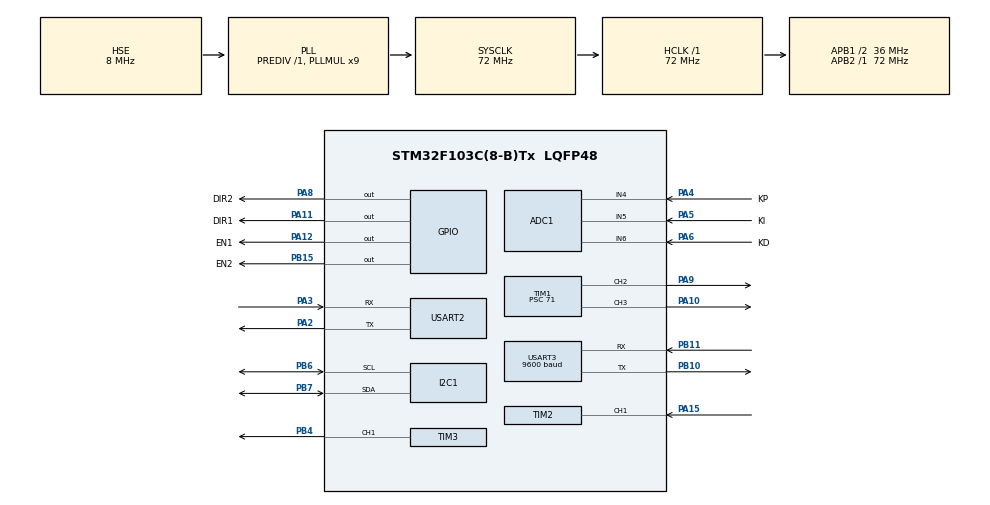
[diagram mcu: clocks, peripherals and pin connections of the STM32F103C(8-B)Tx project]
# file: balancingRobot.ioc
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ADC1.Channel-7\#ChannelInjectedConversion=ADC_CHANNEL_4
ADC1.Channel-8\#ChannelInjectedConversion=ADC_CHANNEL_5
ADC1.Channel-9\#ChannelInjectedConversion=ADC_CHANNEL_6
ADC1.EnableInjectedConversion=ENABLE
ADC1.EnableRegularConversion=DISABLE
ADC1.InjNumberOfConversion=3
ADC1.InjectedOffset-7\#ChannelInjectedConversion=0
ADC1.InjectedOffset-8\#ChannelInjectedConversion=0
ADC1.InjectedOffset-9\#ChannelInjectedConversion=0
ADC1.InjectedRank-7\#ChannelInjectedConversion=1
ADC1.InjectedRank-8\#ChannelInjectedConversion=2
ADC1.InjectedRank-9\#ChannelInjectedConversion=3
ADC1.SamplingTime-7\#ChannelInjectedConversion=ADC_SAMPLETIME_1CYCLE_5
ADC1.SamplingTime-8\#ChannelInjectedConversion=ADC_SAMPLETIME_1CYCLE_5
ADC1.SamplingTime-9\#ChannelInjectedConversion=ADC_SAMPLETIME_1CYCLE_5
ADC1.master=1
Dma.ADC1.2.Direction=DMA_PERIPH_TO_MEMORY
Dma.ADC1.2.Instance=DMA1_Channel1
Dma.ADC1.2.MemDataAlignment=DMA_MDATAALIGN_WORD
Dma.ADC1.2.MemInc=DMA_MINC_ENABLE
Dma.ADC1.2.Mode=DMA_NORMAL
Dma.ADC1.2.PeriphDataAlignment=DMA_PDATAALIGN_WORD
Dma.ADC1.2.PeriphInc=DMA_PINC_DISABLE
Dma.ADC1.2.Priority=DMA_PRIORITY_LOW
Dma.I2C1_RX.0.Direction=DMA_PERIPH_TO_MEMORY
Dma.I2C1_RX.0.Instance=DMA1_Channel7
Dma.I2C1_RX.0.MemDataAlignment=DMA_MDATAALIGN_BYTE
Dma.I2C1_RX.0.MemInc=DMA_MINC_ENABLE
Dma.I2C1_RX.0.Mode=DMA_NORMAL
Dma.I2C1_RX.0.PeriphDataAlignment=DMA_PDATAALIGN_BYTE
Dma.I2C1_RX.0.PeriphInc=DMA_PINC_DISABLE
Dma.I2C1_RX.0.Priority=DMA_PRIORITY_LOW
Dma.Request0=I2C1_RX
Dma.Request1=TIM2_CH1
Dma.Request2=ADC1
Dma.Request3=USART3_RX
Dma.TIM2_CH1.1.Direction=DMA_PERIPH_TO_MEMORY
Dma.TIM2_CH1.1.Instance=DMA1_Channel5
Dma.TIM2_CH1.1.MemDataAlignment=DMA_MDATAALIGN_WORD
Dma.TIM2_CH1.1.MemInc=DMA_MINC_DISABLE
Dma.TIM2_CH1.1.Mode=DMA_CIRCULAR
Dma.TIM2_CH1.1.PeriphDataAlignment=DMA_PDATAALIGN_WORD
Dma.TIM2_CH1.1.PeriphInc=DMA_PINC_DISABLE
Dma.TIM2_CH1.1.Priority=DMA_PRIORITY_LOW
Dma.USART3_RX.3.Direction=DMA_PERIPH_TO_MEMORY
Dma.USART3_RX.3.Instance=DMA1_Channel3
Dma.USART3_RX.3.MemDataAlignment=DMA_MDATAALIGN_BYTE
Dma.USART3_RX.3.MemInc=DMA_MINC_ENABLE
Dma.USART3_RX.3.Mode=DMA_NORMAL
Dma.USART3_RX.3.PeriphDataAlignment=DMA_PDATAALIGN_BYTE
Dma.USART3_RX.3.PeriphInc=DMA_PINC_DISABLE
Dma.USART3_RX.3.Priority=DMA_PRIORITY_LOW
I2C1.I2C_Mode=I2C_Fast
Mcu.Family=STM32F1
Mcu.Name=STM32F103C(8-B)Tx
Mcu.Package=LQFP48
NVIC.ADC1_2_IRQn=true\:0\:0\:false\:false\:true\:true\:true\:true
NVIC.DMA1_Channel1_IRQn=true\:0\:0\:false\:false\:true\:false\:true\:true
NVIC.DMA1_Channel3_IRQn=true\:0\:0\:false\:false\:true\:false\:true\:true
NVIC.DMA1_Channel5_IRQn=true\:0\:0\:false\:false\:true\:false\:true\:true
NVIC.DMA1_Channel7_IRQn=true\:0\:0\:false\:false\:true\:false\:true\:true
NVIC.I2C1_ER_IRQn=true\:0\:0\:false\:false\:true\:true\:true\:true
NVIC.I2C1_EV_IRQn=true\:0\:0\:false\:false\:true\:true\:true\:true
NVIC.PriorityGroup=NVIC_PRIORITYGROUP_4
NVIC.TIM1_BRK_IRQn=true\:0\:0\:false\:false\:true\:true\:true\:true
NVIC.TIM1_TRG_COM_IRQn=true\:0\:0\:false\:false\:true\:true\:true\:true
NVIC.TIM1_UP_IRQn=true\:0\:0\:false\:false\:true\:true\:true\:true
NVIC.USART3_IRQn=true\:0\:0\:false\:false\:true\:true\:true\:true
PA10.Signal=S_TIM1_CH3
PA11.GPIO_Label=DIR1
PA11.Signal=GPIO_Output
PA12.GPIO_Label=EN1
PA12.Signal=GPIO_Output
PA15.Signal=S_TIM2_CH1_ETR
PA2.Mode=Asynchronous
PA2.Signal=USART2_TX
PA3.Mode=Asynchronous
PA3.Signal=USART2_RX
PA4.GPIO_Label=KP
PA4.Signal=ADCx_IN4
PA5.GPIO_Label=KI
PA5.Signal=ADCx_IN5
PA6.GPIO_Label=KD
PA6.Signal=ADCx_IN6
PA8.GPIO_Label=DIR2
PA8.Signal=GPIO_Output
PA9.Signal=S_TIM1_CH2
PB10.Mode=Asynchronous
PB10.Signal=USART3_TX
PB11.Mode=Asynchronous
PB11.Signal=USART3_RX
PB15.GPIO_Label=EN2
PB15.Signal=GPIO_Output
PB4.Signal=S_TIM3_CH1
PB6.Mode=I2C
PB6.Signal=I2C1_SCL
PB7.Mode=I2C
PB7.Signal=I2C1_SDA
PD0-OSC_IN.Mode=HSE-External-Oscillator
PD0-OSC_IN.Signal=RCC_OSC_IN
PD1-OSC_OUT.Mode=HSE-External-Oscillator
PD1-OSC_OUT.Signal=RCC_OSC_OUT
ProjectManager.HeapSize=0x200
ProjectManager.StackSize=0x400
ProjectManager.TargetToolchain=STM32CubeIDE
RCC.ADCPresc=RCC_ADCPCLK2_DIV8
RCC.AHBFreq_Value=72000000
RCC.APB1CLKDivider=RCC_HCLK_DIV2
RCC.APB1Freq_Value=36000000
RCC.APB1TimFreq_Value=72000000
RCC.APB2Freq_Value=72000000
RCC.APB2TimFreq_Value=72000000
RCC.HCLKFreq_Value=72000000
RCC.PLLMUL=RCC_PLL_MUL9
RCC.PLLSourceVirtual=RCC_PLLSOURCE_HSE
RCC.SYSCLKFreq_VALUE=72000000
RCC.SYSCLKSource=RCC_SYSCLKSOURCE_PLLCLK
RCC.USBFreq_Value=72000000
SH.ADCx_IN4.0=ADC1_IN4,IN4
SH.ADCx_IN5.0=ADC1_IN5,IN5
SH.ADCx_IN6.0=ADC1_IN6,IN6
SH.S_TIM1_CH2.0=TIM1_CH2,PWM Generation2 CH2
SH.S_TIM1_CH3.0=TIM1_CH3,PWM Generation3 CH3
SH.S_TIM2_CH1_ETR.0=TIM2_CH1,TriggerSource_TI1FP1
SH.S_TIM2_CH1_ETR.1=TIM2_CH1,Input_Capture1_from_TI1
SH.S_TIM3_CH1.0=TIM3_CH1,PWM Generation1 CH1
TIM1.AutoReloadPreload=TIM_AUTORELOAD_PRELOAD_ENABLE
TIM1.Channel-PWM\ Generation2\ CH2=TIM_CHANNEL_2
TIM1.Channel-PWM\ Generation3\ CH3=TIM_CHANNEL_3
TIM1.Period=500
TIM1.Prescaler=71
TIM2.Channel-Input_Capture1_from_TI1=TIM_CHANNEL_1
TIM2.Channel-Input_Capture2_from_TI1_63=TIM_CHANNEL_2
TIM2.ICPolarity_CH2=TIM_INPUTCHANNELPOLARITY_FALLING
TIM2.Period=65000
TIM2.Prescaler=71
TIM3.AutoReloadPreload=TIM_AUTORELOAD_PRELOAD_ENABLE
TIM3.Channel-PWM\ Generation1\ CH1=TIM_CHANNEL_1
TIM3.Period=500
TIM3.Prescaler=71
USART2.VirtualMode=VM_ASYNC
USART3.BaudRate=9600
USART3.VirtualMode=VM_ASYNC
VP_SYS_VS_ND.Mode=No_Debug
VP_TIM2_VS_ControllerModeReset.Mode=Reset Mode
VP_TIM2_VS_indirect_ch1.Mode=Input_Capture2_from_TI1_63
board=custom

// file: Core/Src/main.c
/* USER CODE BEGIN Header */

/**
  ******************************************************************************
  * @file           : main.c
  * @brief          : Main program body
  ******************************************************************************
  * @attention
  *
  * Copyright (c) 2023 STMicroelectronics.
  * All rights reserved.
  *
  * This software is licensed under terms that can be found in the LICENSE file
  * in the root directory of this software component.
  * If no LICENSE file comes with this software, it is provided AS-IS.
  *
  ******************************************************************************
  */
/* USER CODE END Header */
#include "main.h"

/* USER CODE BEGIN Includes */
#include "MadgwickAHRS.h"
#include <math.h>
#include <stdio.h>
#include "constants.h"
#include "libs/imu.h"
#include "libs/control.h"
#include "libs/motor.h"

/* USER CODE END Includes */

 ADC_HandleTypeDef hadc1;
DMA_HandleTypeDef hdma_adc1;

I2C_HandleTypeDef hi2c1;
DMA_HandleTypeDef hdma_i2c1_rx;

TIM_HandleTypeDef htim1;
TIM_HandleTypeDef htim2;
TIM_HandleTypeDef htim3;
DMA_HandleTypeDef hdma_tim2_ch1;

UART_HandleTypeDef huart2;
UART_HandleTypeDef huart3;
DMA_HandleTypeDef hdma_usart3_rx;

/* USER CODE BEGIN PV */
uint8_t mpuData[14];
uint8_t uartMsg[15];
uint16_t adcData[3];
uint32_t zntime;
int turn = 0;
int speed = 0;
uint speedCounter = 0;
uint adcCounter = 0;
uint startCounter = 0;
uint turnCounter = 0;
int setAng = 0;
int setSpeed = 0;

int isOn = 0;
uint8_t rxData;
/////////////////////////////////////////////////////////
float kpv, kiv, kdv;
int pitch;
int prevSetSpeed = 0;
//////////////////////////////////////////////////////////
/* USER CODE END PV */

void SystemClock_Config(void);
static void MX_GPIO_Init(void);
static void MX_DMA_Init(void);
static void MX_I2C1_Init(void);
static void MX_TIM2_Init(void);
static void MX_USART2_UART_Init(void);
static void MX_TIM1_Init(void);
static void MX_ADC1_Init(void);
static void MX_USART3_UART_Init(void);
static void MX_TIM3_Init(void);

int main(void)
{

  /* MCU Configuration--------------------------------------------------------*/

  /* Reset of all peripherals, Initializes the Flash interface and the Systick. */
  HAL_Init();

  /* Configure the system clock */
  SystemClock_Config();

  /* Initialize all configured peripherals */
  MX_GPIO_Init();
  MX_DMA_Init();
  MX_I2C1_Init();
  MX_TIM2_Init();
  MX_USART2_UART_Init();
  MX_TIM1_Init();
  MX_ADC1_Init();
  MX_USART3_UART_Init();
  MX_TIM3_Init();
  /* USER CODE BEGIN 2 */

  InitMPU6050(&hi2c1);
  HAL_TIM_IC_Start_DMA(&htim2, TIM_CHANNEL_1, (uint32_t*)&zntime, 1);
  HAL_TIM_PWM_Start(&htim1, TIM_CHANNEL_3);
  HAL_TIM_PWM_Start(&htim1, TIM_CHANNEL_2);
  HAL_TIM_PWM_Start(&htim3, TIM_CHANNEL_1);
  HAL_TIM_Base_Start_IT(&htim1);
  HAL_ADCEx_Calibration_Start(&hadc1);
  HAL_UART_Receive_DMA(&huart3, &rxData, 1);

  /* USER CODE END 2 */

  /* Infinite loop */
  while (1)
  {

  }
}

void SystemClock_Config(void)
{
  RCC_OscInitTypeDef RCC_OscInitStruct = {0};
  RCC_ClkInitTypeDef RCC_ClkInitStruct = {0};
  RCC_PeriphCLKInitTypeDef PeriphClkInit = {0};

  /** Initializes the RCC Oscillators according to the specified parameters
  * in the RCC_OscInitTypeDef structure.
  */
  RCC_OscInitStruct.OscillatorType = RCC_OSCILLATORTYPE_HSE;
  RCC_OscInitStruct.HSEState = RCC_HSE_ON;
  RCC_OscInitStruct.HSEPredivValue = RCC_HSE_PREDIV_DIV1;
  RCC_OscInitStruct.HSIState = RCC_HSI_ON;
  RCC_OscInitStruct.PLL.PLLState = RCC_PLL_ON;
  RCC_OscInitStruct.PLL.PLLSource = RCC_PLLSOURCE_HSE;
  RCC_OscInitStruct.PLL.PLLMUL = RCC_PLL_MUL9;
  if (HAL_RCC_OscConfig(&RCC_OscInitStruct) != HAL_OK)
  {
    Error_Handler();
  }

  /** Initializes the CPU, AHB and APB buses clocks
  */
  RCC_ClkInitStruct.ClockType = RCC_CLOCKTYPE_HCLK|RCC_CLOCKTYPE_SYSCLK
                              |RCC_CLOCKTYPE_PCLK1|RCC_CLOCKTYPE_PCLK2;
  RCC_ClkInitStruct.SYSCLKSource = RCC_SYSCLKSOURCE_PLLCLK;
  RCC_ClkInitStruct.AHBCLKDivider = RCC_SYSCLK_DIV1;
  RCC_ClkInitStruct.APB1CLKDivider = RCC_HCLK_DIV2;
  RCC_ClkInitStruct.APB2CLKDivider = RCC_HCLK_DIV1;

  if (HAL_RCC_ClockConfig(&RCC_ClkInitStruct, FLASH_LATENCY_2) != HAL_OK)
  {
    Error_Handler();
  }
  PeriphClkInit.PeriphClockSelection = RCC_PERIPHCLK_ADC;
  PeriphClkInit.AdcClockSelection = RCC_ADCPCLK2_DIV8;
  if (HAL_RCCEx_PeriphCLKConfig(&PeriphClkInit) != HAL_OK)
  {
    Error_Handler();
  }
}

static void MX_ADC1_Init(void)
{

  ADC_InjectionConfTypeDef sConfigInjected = {0};

  /** Common config
  */
  hadc1.Instance = ADC1;
  hadc1.Init.ScanConvMode = ADC_SCAN_ENABLE;
  hadc1.Init.ContinuousConvMode = DISABLE;
  hadc1.Init.DiscontinuousConvMode = DISABLE;
  hadc1.Init.ExternalTrigConv = ADC_SOFTWARE_START;
  hadc1.Init.DataAlign = ADC_DATAALIGN_RIGHT;
  hadc1.Init.NbrOfConversion = 1;
  if (HAL_ADC_Init(&hadc1) != HAL_OK)
  {
    Error_Handler();
  }

  /** Configure Injected Channel
  */
  sConfigInjected.InjectedChannel = ADC_CHANNEL_4;
  sConfigInjected.InjectedRank = ADC_INJECTED_RANK_1;
  sConfigInjected.InjectedNbrOfConversion = 3;
  sConfigInjected.InjectedSamplingTime = ADC_SAMPLETIME_1CYCLE_5;
  sConfigInjected.ExternalTrigInjecConv = ADC_INJECTED_SOFTWARE_START;
  sConfigInjected.AutoInjectedConv = DISABLE;
  sConfigInjected.InjectedDiscontinuousConvMode = DISABLE;
  sConfigInjected.InjectedOffset = 0;
  if (HAL_ADCEx_InjectedConfigChannel(&hadc1, &sConfigInjected) != HAL_OK)
  {
    Error_Handler();
  }

  /** Configure Injected Channel
  */
  sConfigInjected.InjectedChannel = ADC_CHANNEL_5;
  sConfigInjected.InjectedRank = ADC_INJECTED_RANK_2;
  if (HAL_ADCEx_InjectedConfigChannel(&hadc1, &sConfigInjected) != HAL_OK)
  {
    Error_Handler();
  }

  /** Configure Injected Channel
  */
  sConfigInjected.InjectedChannel = ADC_CHANNEL_6;
  sConfigInjected.InjectedRank = ADC_INJECTED_RANK_3;
  if (HAL_ADCEx_InjectedConfigChannel(&hadc1, &sConfigInjected) != HAL_OK)
  {
    Error_Handler();
  }

}

static void MX_I2C1_Init(void)
{

  hi2c1.Instance = I2C1;
  hi2c1.Init.ClockSpeed = 400000;
  hi2c1.Init.DutyCycle = I2C_DUTYCYCLE_2;
  hi2c1.Init.OwnAddress1 = 0;
  hi2c1.Init.AddressingMode = I2C_ADDRESSINGMODE_7BIT;
  hi2c1.Init.DualAddressMode = I2C_DUALADDRESS_DISABLE;
  hi2c1.Init.OwnAddress2 = 0;
  hi2c1.Init.GeneralCallMode = I2C_GENERALCALL_DISABLE;
  hi2c1.Init.NoStretchMode = I2C_NOSTRETCH_DISABLE;
  if (HAL_I2C_Init(&hi2c1) != HAL_OK)
  {
    Error_Handler();
  }

}

static void MX_TIM1_Init(void)
{

  TIM_MasterConfigTypeDef sMasterConfig = {0};
  TIM_OC_InitTypeDef sConfigOC = {0};
  TIM_BreakDeadTimeConfigTypeDef sBreakDeadTimeConfig = {0};

  htim1.Instance = TIM1;
  htim1.Init.Prescaler = 71;
  htim1.Init.CounterMode = TIM_COUNTERMODE_UP;
  htim1.Init.Period = 500;
  htim1.Init.ClockDivision = TIM_CLOCKDIVISION_DIV1;
  htim1.Init.RepetitionCounter = 0;
  htim1.Init.AutoReloadPreload = TIM_AUTORELOAD_PRELOAD_ENABLE;
  if (HAL_TIM_PWM_Init(&htim1) != HAL_OK)
  {
    Error_Handler();
  }
  sMasterConfig.MasterOutputTrigger = TIM_TRGO_RESET;
  sMasterConfig.MasterSlaveMode = TIM_MASTERSLAVEMODE_DISABLE;
  if (HAL_TIMEx_MasterConfigSynchronization(&htim1, &sMasterConfig) != HAL_OK)
  {
    Error_Handler();
  }
  sConfigOC.OCMode = TIM_OCMODE_PWM1;
  sConfigOC.Pulse = 0;
  sConfigOC.OCPolarity = TIM_OCPOLARITY_HIGH;
  sConfigOC.OCNPolarity = TIM_OCNPOLARITY_HIGH;
  sConfigOC.OCFastMode = TIM_OCFAST_DISABLE;
  sConfigOC.OCIdleState = TIM_OCIDLESTATE_RESET;
  sConfigOC.OCNIdleState = TIM_OCNIDLESTATE_RESET;
  if (HAL_TIM_PWM_ConfigChannel(&htim1, &sConfigOC, TIM_CHANNEL_2) != HAL_OK)
  {
    Error_Handler();
  }
  if (HAL_TIM_PWM_ConfigChannel(&htim1, &sConfigOC, TIM_CHANNEL_3) != HAL_OK)
  {
    Error_Handler();
  }
  sBreakDeadTimeConfig.OffStateRunMode = TIM_OSSR_DISABLE;
  sBreakDeadTimeConfig.OffStateIDLEMode = TIM_OSSI_DISABLE;
  sBreakDeadTimeConfig.LockLevel = TIM_LOCKLEVEL_OFF;
  sBreakDeadTimeConfig.DeadTime = 0;
  sBreakDeadTimeConfig.BreakState = TIM_BREAK_DISABLE;
  sBreakDeadTimeConfig.BreakPolarity = TIM_BREAKPOLARITY_HIGH;
  sBreakDeadTimeConfig.AutomaticOutput = TIM_AUTOMATICOUTPUT_DISABLE;
  if (HAL_TIMEx_ConfigBreakDeadTime(&htim1, &sBreakDeadTimeConfig) != HAL_OK)
  {
    Error_Handler();
  }
  HAL_TIM_MspPostInit(&htim1);

}

static void MX_TIM2_Init(void)
{

  TIM_SlaveConfigTypeDef sSlaveConfig = {0};
  TIM_MasterConfigTypeDef sMasterConfig = {0};
  TIM_IC_InitTypeDef sConfigIC = {0};

  htim2.Instance = TIM2;
  htim2.Init.Prescaler = 71;
  htim2.Init.CounterMode = TIM_COUNTERMODE_UP;
  htim2.Init.Period = 65000;
  htim2.Init.ClockDivision = TIM_CLOCKDIVISION_DIV1;
  htim2.Init.AutoReloadPreload = TIM_AUTORELOAD_PRELOAD_DISABLE;
  if (HAL_TIM_Base_Init(&htim2) != HAL_OK)
  {
    Error_Handler();
  }
  if (HAL_TIM_IC_Init(&htim2) != HAL_OK)
  {
    Error_Handler();
  }
  sSlaveConfig.SlaveMode = TIM_SLAVEMODE_RESET;
  sSlaveConfig.InputTrigger = TIM_TS_TI1FP1;
  sSlaveConfig.TriggerPolarity = TIM_INPUTCHANNELPOLARITY_RISING;
  sSlaveConfig.TriggerFilter = 0;
  if (HAL_TIM_SlaveConfigSynchro(&htim2, &sSlaveConfig) != HAL_OK)
  {
    Error_Handler();
  }
  sMasterConfig.MasterOutputTrigger = TIM_TRGO_RESET;
  sMasterConfig.MasterSlaveMode = TIM_MASTERSLAVEMODE_DISABLE;
  if (HAL_TIMEx_MasterConfigSynchronization(&htim2, &sMasterConfig) != HAL_OK)
  {
    Error_Handler();
  }
  sConfigIC.ICPolarity = TIM_INPUTCHANNELPOLARITY_RISING;
  sConfigIC.ICSelection = TIM_ICSELECTION_DIRECTTI;
  sConfigIC.ICPrescaler = TIM_ICPSC_DIV1;
  sConfigIC.ICFilter = 0;
  if (HAL_TIM_IC_ConfigChannel(&htim2, &sConfigIC, TIM_CHANNEL_1) != HAL_OK)
  {
    Error_Handler();
  }
  sConfigIC.ICPolarity = TIM_INPUTCHANNELPOLARITY_FALLING;
  sConfigIC.ICSelection = TIM_ICSELECTION_INDIRECTTI;
  if (HAL_TIM_IC_ConfigChannel(&htim2, &sConfigIC, TIM_CHANNEL_2) != HAL_OK)
  {
    Error_Handler();
  }

}

static void MX_TIM3_Init(void)
{

  TIM_MasterConfigTypeDef sMasterConfig = {0};
  TIM_OC_InitTypeDef sConfigOC = {0};

  htim3.Instance = TIM3;
  htim3.Init.Prescaler = 71;
  htim3.Init.CounterMode = TIM_COUNTERMODE_UP;
  htim3.Init.Period = 500;
  htim3.Init.ClockDivision = TIM_CLOCKDIVISION_DIV1;
  htim3.Init.AutoReloadPreload = TIM_AUTORELOAD_PRELOAD_ENABLE;
  if (HAL_TIM_PWM_Init(&htim3) != HAL_OK)
  {
    Error_Handler();
  }
  sMasterConfig.MasterOutputTrigger = TIM_TRGO_RESET;
  sMasterConfig.MasterSlaveMode = TIM_MASTERSLAVEMODE_DISABLE;
  if (HAL_TIMEx_MasterConfigSynchronization(&htim3, &sMasterConfig) != HAL_OK)
  {
    Error_Handler();
  }
  sConfigOC.OCMode = TIM_OCMODE_PWM1;
  sConfigOC.Pulse = 0;
  sConfigOC.OCPolarity = TIM_OCPOLARITY_HIGH;
  sConfigOC.OCFastMode = TIM_OCFAST_DISABLE;
  if (HAL_TIM_PWM_ConfigChannel(&htim3, &sConfigOC, TIM_CHANNEL_1) != HAL_OK)
  {
    Error_Handler();
  }
  HAL_TIM_MspPostInit(&htim3);

}

static void MX_USART2_UART_Init(void)
{

  huart2.Instance = USART2;
  huart2.Init.BaudRate = 115200;
  huart2.Init.WordLength = UART_WORDLENGTH_8B;
  huart2.Init.StopBits = UART_STOPBITS_1;
  huart2.Init.Parity = UART_PARITY_NONE;
  huart2.Init.Mode = UART_MODE_TX_RX;
  huart2.Init.HwFlowCtl = UART_HWCONTROL_NONE;
  huart2.Init.OverSampling = UART_OVERSAMPLING_16;
  if (HAL_UART_Init(&huart2) != HAL_OK)
  {
    Error_Handler();
  }

}

static void MX_USART3_UART_Init(void)
{

  huart3.Instance = USART3;
  huart3.Init.BaudRate = 9600;
  huart3.Init.WordLength = UART_WORDLENGTH_8B;
  huart3.Init.StopBits = UART_STOPBITS_1;
  huart3.Init.Parity = UART_PARITY_NONE;
  huart3.Init.Mode = UART_MODE_TX_RX;
  huart3.Init.HwFlowCtl = UART_HWCONTROL_NONE;
  huart3.Init.OverSampling = UART_OVERSAMPLING_16;
  if (HAL_UART_Init(&huart3) != HAL_OK)
  {
    Error_Handler();
  }

}

static void MX_DMA_Init(void)
{

  /* DMA controller clock enable */
  __HAL_RCC_DMA1_CLK_ENABLE();

  /* DMA interrupt init */
  /* DMA1_Channel1_IRQn interrupt configuration */
  HAL_NVIC_SetPriority(DMA1_Channel1_IRQn, 0, 0);
  HAL_NVIC_EnableIRQ(DMA1_Channel1_IRQn);
  /* DMA1_Channel3_IRQn interrupt configuration */
  HAL_NVIC_SetPriority(DMA1_Channel3_IRQn, 0, 0);
  HAL_NVIC_EnableIRQ(DMA1_Channel3_IRQn);
  /* DMA1_Channel5_IRQn interrupt configuration */
  HAL_NVIC_SetPriority(DMA1_Channel5_IRQn, 0, 0);
  HAL_NVIC_EnableIRQ(DMA1_Channel5_IRQn);
  /* DMA1_Channel7_IRQn interrupt configuration */
  HAL_NVIC_SetPriority(DMA1_Channel7_IRQn, 0, 0);
  HAL_NVIC_EnableIRQ(DMA1_Channel7_IRQn);

}

static void MX_GPIO_Init(void)
{
  GPIO_InitTypeDef GPIO_InitStruct = {0};

  /* GPIO Ports Clock Enable */
  __HAL_RCC_GPIOD_CLK_ENABLE();
  __HAL_RCC_GPIOA_CLK_ENABLE();
  __HAL_RCC_GPIOB_CLK_ENABLE();

  /*Configure GPIO pin Output Level */
  HAL_GPIO_WritePin(EN2_GPIO_Port, EN2_Pin, GPIO_PIN_RESET);

  /*Configure GPIO pin Output Level */
  HAL_GPIO_WritePin(GPIOA, DIR2_Pin|DIR1_Pin|EN1_Pin, GPIO_PIN_RESET);

  /*Configure GPIO pin : EN2_Pin */
  GPIO_InitStruct.Pin = EN2_Pin;
  GPIO_InitStruct.Mode = GPIO_MODE_OUTPUT_PP;
  GPIO_InitStruct.Pull = GPIO_NOPULL;
  GPIO_InitStruct.Speed = GPIO_SPEED_FREQ_LOW;
  HAL_GPIO_Init(EN2_GPIO_Port, &GPIO_InitStruct);

  /*Configure GPIO pins : DIR2_Pin DIR1_Pin EN1_Pin */
  GPIO_InitStruct.Pin = DIR2_Pin|DIR1_Pin|EN1_Pin;
  GPIO_InitStruct.Mode = GPIO_MODE_OUTPUT_PP;
  GPIO_InitStruct.Pull = GPIO_NOPULL;
  GPIO_InitStruct.Speed = GPIO_SPEED_FREQ_LOW;
  HAL_GPIO_Init(GPIOA, &GPIO_InitStruct);

}

/* USER CODE BEGIN 4 */

void HAL_TIM_IC_CaptureCallback(TIM_HandleTypeDef *htim)
{
	if(htim->Instance == TIM2) {
		HAL_I2C_Mem_Read_DMA(&hi2c1, MPU6050_Address, ACCEL_XOUT_H_REG, 1, mpuData, 14);
        speedCounter++;
        turnCounter++;
        adcCounter++;
        if (speedCounter > 50){
        	setSpeed = 0;
            speedCounter = 0;
        }
        if (turnCounter > 50){
        	turn = 0;
        	turnCounter = 0;
        }
        if (adcCounter > 150) {
        HAL_ADCEx_InjectedStart_IT(&hadc1);
        adcCounter = 0;
        }
	}
}

void HAL_ADCEx_InjectedConvCpltCallback(ADC_HandleTypeDef* hadc1)
{
  //kp = (float)HAL_ADCEx_InjectedGetValue(hadc1, ADC_INJECTED_RANK_1) / 1000;
  //ki = HAL_ADCEx_InjectedGetValue(hadc1, ADC_INJECTED_RANK_2) / 50;
  //kd = (float)HAL_ADCEx_InjectedGetValue(hadc1, ADC_INJECTED_RANK_3) / 2000;
  //kpv = (float)HAL_ADCEx_InjectedGetValue(hadc1, ADC_INJECTED_RANK_1) / 200;
  //kiv = (float)HAL_ADCEx_InjectedGetValue(hadc1, ADC_INJECTED_RANK_2) / 25000;
  //kdv = (float)HAL_ADCEx_InjectedGetValue(hadc1, ADC_INJECTED_RANK_3) / 10;
}

void HAL_I2C_MemRxCpltCallback(I2C_HandleTypeDef *hi2c)
{
	  pitch = MPU6050Read(mpuData);
	  if (startCounter < 2100) {
		  startCounter++;
	  }
	  if (startCounter > 500 && pitch > -1000) {
		  isOn = 1;
	  }
	  if (isOn) {
		  speed = angleRegulation(pitch, setAng);
		  stepperMotor(speed, turn);
		  int filtSetSpeed = (1-SET_SPEED_FILT)*prevSetSpeed + SET_SPEED_FILT*setSpeed;
		  prevSetSpeed = filtSetSpeed;
	 	  setAng = speedRegulation(speed, filtSetSpeed);
	  }

	  //sprintf(uartMsg, "$%d;", (int)(prevSetSpeed));
	  //sprintf(uartMsg, "$%d %d %d, %d;", (int)(Pa*kp), (int)(Ia*ki), (int)(Da*kd), (int)(speed));
	  //sprintf(uartMsg, "$%d %d;", (int)(pitch/10), (int)(speed));
	  //sprintf(uartMsg, "$%d %d %d, %d;", (int)(Pv*kpv), (int)(Iv), (int)(Dv*kdv), (int)(filtSpeed));
	  //sprintf(uartMsg, "$%.3f %d %.3f;", (float)(kp), (int)(ki), (float)(kd));
	  //sprintf(uartMsg, "$%.3f %.3f %.3f;", (float)(kpv), (float)(kiv), (float)(kdv));
	  //HAL_UART_Transmit(&huart2, (uint8_t*)uartMsg, sizeof(uartMsg), HAL_MAX_DELAY);
	  //HAL_UART_Transmit(&huart2, (uint8_t*)"\n", sizeof("\n"), HAL_MAX_DELAY);

}

void HAL_UART_RxCpltCallback(UART_HandleTypeDef *huart)
{
  if(huart->Instance==USART3)
  {
	//sprintf(uartMsg, "%d", (int)rxData);
	  //sprintf(uartMsg, "%d", (int)rxData);
	//int str = atoi(rxData);
	//sprintf(uartMsg, "%d", str);
	//HAL_UART_Transmit(&huart2, rxData, 1, HAL_MAX_DELAY);
	//HAL_UART_Transmit(&huart3, rxData, 1, HAL_MAX_DELAY);
	//HAL_UART_Transmit(&huart2, (uint8_t*)"\n", sizeof("\n"), HAL_MAX_DELAY);
    if(rxData==70) // Ascii value of 'N' is 78 (N for NO)
    {
    	setSpeed = 1000;
    	//HAL_UART_Transmit(&huart2, (uint8_t*)"F\n", sizeof("F\n"), HAL_MAX_DELAY);
    	speedCounter = 0;
    }
    else if (rxData==66) // Ascii value of 'Y' is 89 (Y for YES)
    {
    	setSpeed = -1000;
    	//HAL_UART_Transmit(&huart2, (uint8_t*)"B\n", sizeof("B\n"), HAL_MAX_DELAY);
    	speedCounter = 0;
    }
    else if (rxData==50) // Ascii value of 'Y' is 89 (Y for YES)
    	{
           	turn = -200;
           	//HAL_UART_Transmit(&huart2, (uint8_t*)"L\n", sizeof("L\n"), HAL_MAX_DELAY);
           	turnCounter = 0;
        }
    else if (rxData==49) // Ascii value of 'Y' is 89 (Y for YES)
    	{
           	turn = 200;
           	//HAL_UART_Transmit(&huart2, (uint8_t*)"R\n", sizeof("R\n"), HAL_MAX_DELAY);
           	turnCounter = 0;
    	}
     HAL_UART_Receive_DMA(&huart3, &rxData, 1);// Enabling interrupt receive again
  }
}

/* USER CODE END 4 */

void Error_Handler(void)
{
  __disable_irq();
  while (1)
  {
  }
}
